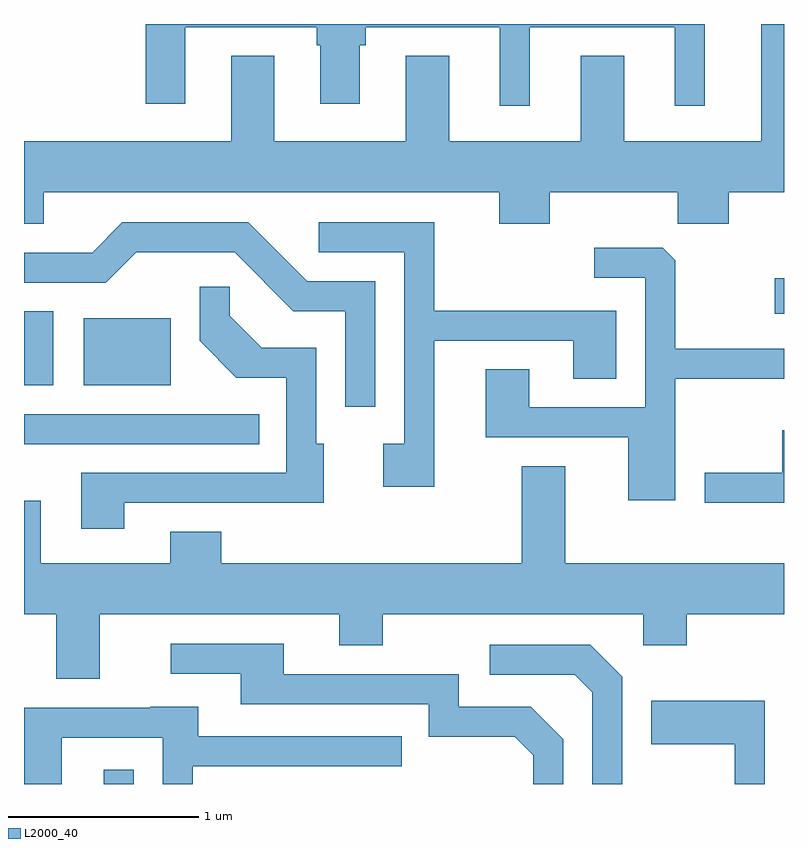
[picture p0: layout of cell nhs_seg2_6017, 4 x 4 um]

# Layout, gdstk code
import gdstk
lib = gdstk.Library(unit=1e-6, precision=1e-09)
def R(c, l, rs):  # rectangles x0, y0, x1, y1
    for r in rs: c.add(gdstk.rectangle(r[:2], r[2:], *l))
def P(c, l, *ps):  # polygons
    for p in ps: c.add(gdstk.Polygon(p, *l))
L2000_40 = (2000, 40)

nhs_seg2_6017 = lib.new_cell('nhs_seg2_6017')
R(nhs_seg2_6017, L2000_40, [(362.031,1111.802,362.189,1111.878), (361.611,1113.591,362.848,1113.749), (361.611,1113.901,361.764,1114.289), (361.926,1113.901,362.384,1114.254), (365.561,1114.276,365.611,1114.464)])
P(nhs_seg2_6017, L2000_40, [(361.714,1114.916),(364.111,1114.916),(364.111,1114.751),(364.379,1114.751),(364.379,1114.916),(365.051,1114.916),(365.051,1114.751),(365.319,1114.751),(365.319,1114.916),(365.611,1114.916),(365.611,1115.802),(365.491,1115.802),(365.491,1115.184),(364.769,1115.184),(364.769,1115.634),(364.541,1115.634),(364.541,1115.184),(363.849,1115.184),(363.849,1115.634),(363.621,1115.634),(363.621,1115.184),(362.929,1115.184),(362.929,1115.634),(362.701,1115.634),(362.701,1115.184),(361.611,1115.184),(361.611,1114.751),(361.714,1114.751)],
  [(364.274,1115.786),(365.036,1115.786),(365.036,1115.373),(365.194,1115.373),(365.194,1115.802),(362.251,1115.802),(362.251,1115.381),(362.459,1115.381),(362.459,1115.786),(363.151,1115.786),(363.151,1115.691),(363.171,1115.691),(363.171,1115.381),(363.379,1115.381),(363.379,1115.691),(363.409,1115.691),(363.409,1115.786),(364.116,1115.786),(364.116,1115.373),(364.274,1115.373)],
  [(363.769,1114.136),(364.501,1114.136),(364.501,1113.936),(364.729,1113.936),(364.729,1114.294),(363.769,1114.294),(363.769,1114.759),(363.163,1114.759),(363.163,1114.601),(363.611,1114.601),(363.611,1113.594),(363.501,1113.594),(363.501,1113.366),(363.769,1113.366)],
  [(363.459,1114.449),(363.102,1114.449),(362.792,1114.759),(362.129,1114.759),(361.969,1114.599),(361.611,1114.599),(361.611,1114.441),(362.042,1114.441),(362.202,1114.601),(362.719,1114.601),(363.029,1114.291),(363.301,1114.291),(363.301,1113.788),(363.459,1113.788)],
  [(365.039,1113.936),(365.611,1113.936),(365.611,1114.094),(365.039,1114.094),(365.039,1114.559),(364.974,1114.624),(364.613,1114.624),(364.613,1114.466),(364.881,1114.466),(364.881,1113.784),(364.269,1113.784),(364.269,1113.984),(364.041,1113.984),(364.041,1113.626),(364.791,1113.626),(364.791,1113.296),(365.039,1113.296)],
  [(362.139,1113.281),(363.189,1113.281),(363.189,1113.594),(363.149,1113.594),(363.149,1114.099),(362.862,1114.099),(362.694,1114.267),(362.694,1114.418),(362.536,1114.418),(362.536,1114.134),(362.729,1113.941),(362.991,1113.941),(362.991,1113.439),(361.911,1113.439),(361.911,1113.146),(362.139,1113.146)],
  [(365.611,1113.664),(365.601,1113.664),(365.601,1113.439),(365.193,1113.439),(365.193,1113.281),(365.611,1113.281)],
  [(362.649,1113.129),(362.381,1113.129),(362.381,1112.964),(361.699,1112.964),(361.699,1113.294),(361.611,1113.294),(361.611,1112.696),(361.781,1112.696),(361.781,1112.356),(362.009,1112.356),(362.009,1112.696),(363.271,1112.696),(363.271,1112.531),(363.499,1112.531),(363.499,1112.696),(364.871,1112.696),(364.871,1112.531),(365.099,1112.531),(365.099,1112.696),(365.611,1112.696),(365.611,1112.964),(364.459,1112.964),(364.459,1113.474),(364.231,1113.474),(364.231,1112.964),(362.649,1112.964)],
  [(364.449,1112.037),(364.277,1112.209),(363.899,1112.209),(363.899,1112.379),(362.979,1112.379),(362.979,1112.539),(362.383,1112.539),(362.383,1112.381),(362.751,1112.381),(362.751,1112.221),(363.741,1112.221),(363.741,1112.051),(364.194,1112.051),(364.291,1111.954),(364.291,1111.802),(364.449,1111.802)],
  [(364.759,1112.367),(364.592,1112.534),(364.063,1112.534),(364.063,1112.376),(364.509,1112.376),(364.601,1112.284),(364.601,1111.802),(364.759,1111.802)],
  [(365.509,1112.239),(364.911,1112.239),(364.911,1112.011),(365.351,1112.011),(365.351,1111.802),(365.509,1111.802)],
  [(361.809,1112.046),(362.341,1112.046),(362.341,1111.802),(362.499,1111.802),(362.499,1111.896),(363.598,1111.896),(363.598,1112.054),(362.529,1112.054),(362.529,1112.209),(362.275,1112.209),(362.275,1112.204),(361.611,1112.204),(361.611,1111.802),(361.809,1111.802)])

lib.write_gds('nhs_seg2_6017.gds')
